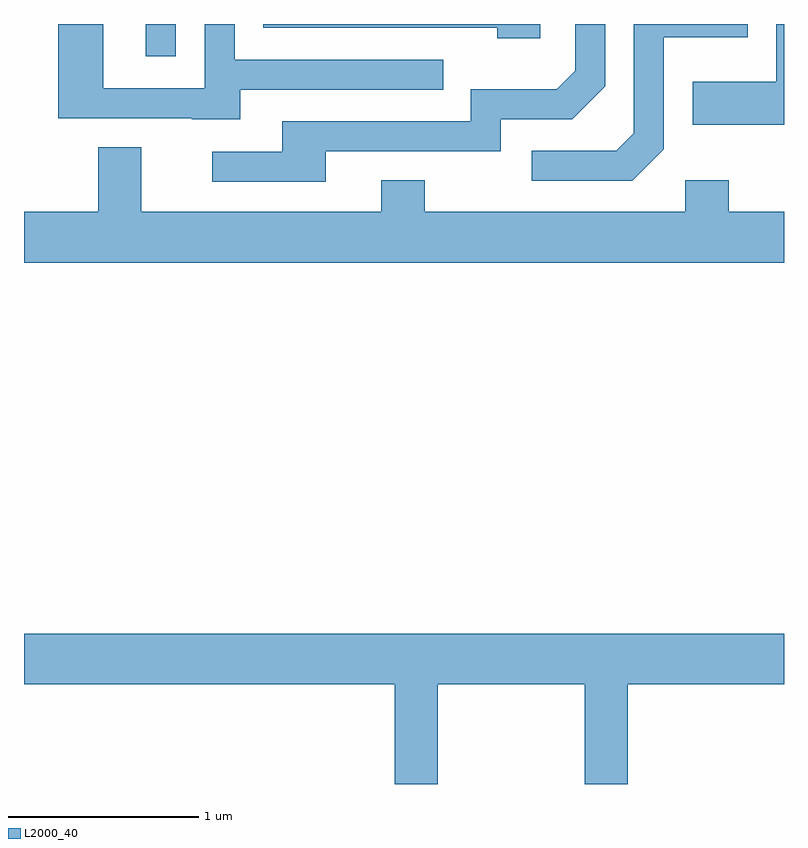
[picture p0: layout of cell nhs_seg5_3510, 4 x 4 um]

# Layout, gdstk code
import gdstk
lib = gdstk.Library(unit=1e-6, precision=1e-09)
def R(c, l, rs):  # rectangles x0, y0, x1, y1
    for r in rs: c.add(gdstk.rectangle(r[:2], r[2:], *l))
def P(c, l, *ps):  # polygons
    for p in ps: c.add(gdstk.Polygon(p, *l))
L2000_40 = (2000, 40)

nhs_seg5_3510 = lib.new_cell('nhs_seg5_3510')
R(nhs_seg5_3510, L2000_40, [(290.251,1437.903,290.409,1438.072)])
P(nhs_seg5_3510, L2000_40, [(293.611,1438.072),(293.571,1438.072),(293.571,1437.769),(293.131,1437.769),(293.131,1437.541),(293.611,1437.541)],
  [(292.979,1437.414),(292.979,1438.001),(293.419,1438.001),(293.419,1438.072),(292.821,1438.072),(292.821,1437.497),(292.729,1437.404),(292.283,1437.404),(292.283,1437.246),(292.812,1437.246)],
  [(290.749,1437.726),(291.818,1437.726),(291.818,1437.884),(290.719,1437.884),(290.719,1438.072),(290.561,1438.072),(290.561,1437.734),(290.029,1437.734),(290.029,1438.072),(289.791,1438.072),(289.791,1437.576),(290.495,1437.576),(290.495,1437.571),(290.749,1437.571)],
  [(291.199,1437.401),(292.119,1437.401),(292.119,1437.571),(292.497,1437.571),(292.669,1437.744),(292.669,1438.072),(292.511,1438.072),(292.511,1437.827),(292.414,1437.729),(291.961,1437.729),(291.961,1437.559),(290.971,1437.559),(290.971,1437.399),(290.603,1437.399),(290.603,1437.241),(291.199,1437.241)],
  [(292.329,1438.072),(290.871,1438.072),(290.871,1438.051),(292.101,1438.051),(292.101,1437.996),(292.329,1437.996)],
  [(293.611,1437.084),(293.319,1437.084),(293.319,1437.249),(293.091,1437.249),(293.091,1437.084),(291.719,1437.084),(291.719,1437.249),(291.491,1437.249),(291.491,1437.084),(290.229,1437.084),(290.229,1437.424),(290.001,1437.424),(290.001,1437.084),(289.611,1437.084),(289.611,1436.816),(293.611,1436.816)],
  [(291.789,1434.596),(292.561,1434.596),(292.561,1434.072),(292.789,1434.072),(292.789,1434.596),(293.611,1434.596),(293.611,1434.864),(289.611,1434.864),(289.611,1434.596),(291.561,1434.596),(291.561,1434.072),(291.789,1434.072)])

lib.write_gds('nhs_seg5_3510.gds')
